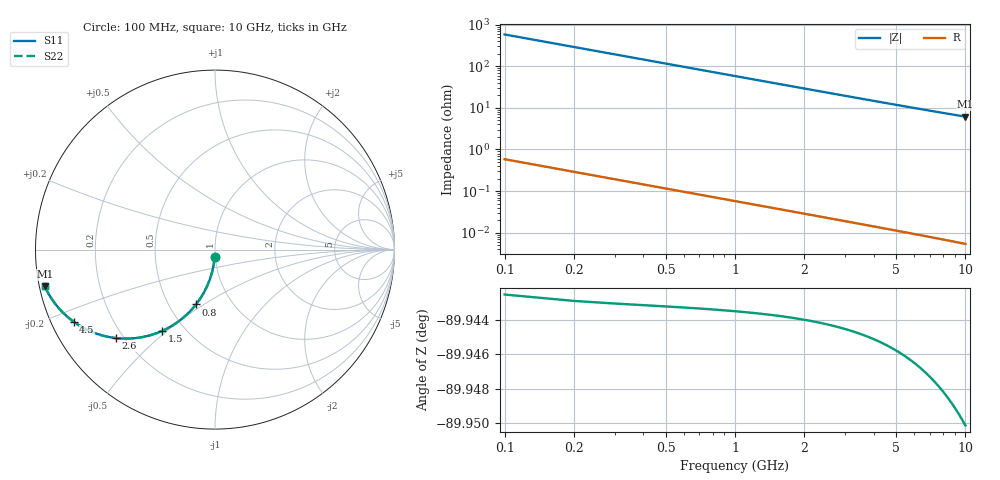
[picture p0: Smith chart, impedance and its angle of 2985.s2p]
# Hz S RI R 50.00
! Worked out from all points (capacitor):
!   100 points, 100 MHz to 10 GHz, reference 50 ohm
!   read as one part in shunt: C = 2.73 pF near 100 MHz
!   lowest |Z| = 6.17 ohm at 10 GHz (marker M1)
!   S11 on the Smith chart (normalised r, x): 100 MHz: 0.99, -0.08; 800 MHz: 0.68, -0.46; 1.5 GHz: 0.38, -0.48; 2.6 GHz: 0.17, -0.37; 4.5 GHz: 0.07, -0.24; 10 GHz: 0.02, -0.11
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1e8  -0.00186 -0.0427  0.9981 -0.043  0.9981 -0.043  -0.00186 -0.0427
2e8  -0.00738 -0.0849  0.9926 -0.0855  0.9926 -0.0855  -0.00738 -0.0849
3e8  -0.0164 -0.1262  0.9835 -0.1271  0.9835 -0.1271  -0.0164 -0.1262
4e8  -0.0288 -0.1662  0.9712 -0.1673  0.9712 -0.1673  -0.0288 -0.1662
5e8  -0.0442 -0.2044  0.9557 -0.2058  0.9557 -0.2058  -0.0442 -0.2044
6e8  -0.0624 -0.2405  0.9376 -0.2423  0.9376 -0.2423  -0.0624 -0.2405
8e8  -0.1057 -0.3058  0.8943 -0.3081  0.8943 -0.3081  -0.1057 -0.3058
9e8  -0.13 -0.3345  0.8699 -0.3371  0.8699 -0.3371  -0.13 -0.3345
1.1e9  -0.1824 -0.3841  0.8176 -0.3873  0.8176 -0.3873  -0.1824 -0.3841
1.3e9  -0.2374 -0.4231  0.7626 -0.4269  0.7626 -0.4269  -0.2374 -0.4231
1.5e9  -0.2928 -0.4524  0.7071 -0.4567  0.7071 -0.4567  -0.2928 -0.4524
1.8e9  -0.3733 -0.4806  0.6267 -0.4858  0.6267 -0.4858  -0.3733 -0.4806
2.2e9  -0.4705 -0.4954  0.5294 -0.5018  0.5294 -0.5018  -0.4705 -0.4954
2.6e9  -0.5535 -0.4928  0.4464 -0.5004  0.4464 -0.5004  -0.5535 -0.4928
3e9  -0.6225 -0.4798  0.3774 -0.4886  0.3774 -0.4886  -0.6225 -0.4798
3.4e9  -0.6791 -0.4613  0.3208 -0.4713  0.3208 -0.4713  -0.6791 -0.4613
3.9e9  -0.7356 -0.4347  0.2642 -0.4462  0.2642 -0.4462  -0.7356 -0.4347
4.5e9  -0.7874 -0.4019  0.2125 -0.4153  0.2125 -0.4153  -0.7874 -0.4019
5.1e9  -0.8263 -0.3707  0.1736 -0.3859  0.1736 -0.3859  -0.8263 -0.3707
6.7e9  -0.8915 -0.3002  0.1082 -0.3204  0.1082 -0.3204  -0.8915 -0.3002
8.4e9  -0.9285 -0.2441  0.0712 -0.2697  0.0712 -0.2697  -0.9285 -0.2441
1e10  -0.9487 -0.204  0.0507 -0.2349  0.0507 -0.2349  -0.9487 -0.204
